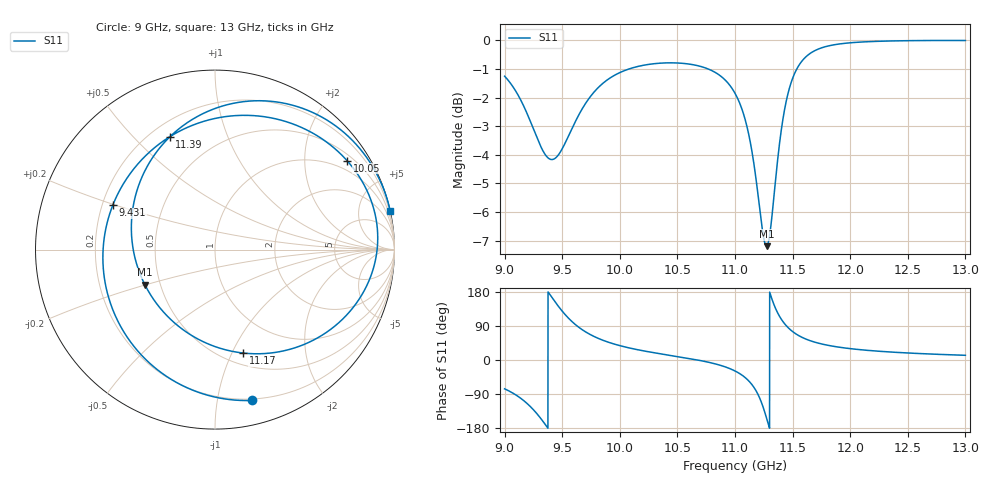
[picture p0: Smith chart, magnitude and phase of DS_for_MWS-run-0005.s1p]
! TOUCHSTONE file generated by CST DESIGN STUDIO
! Date and time: Tue Feb  4 17:41:38 2025
! Project name: C:\Work\MatlabApps\UnitCellOptimizationMatlab\CST\unitcell.cst
! Tree item: Tasks\Sweep1\SPara1\S-Parameters
! Header version: 2024
! Port assignment regex: !\s*Touchstone port\s*([0-9]+)\s*=\s*(CST MWS port|CST DES external port|CST DES block port)\s*(.+)\s* \(\"(.*)\"\)(\s*mode\s*([0-9]+))?.*
! Touchstone port assignment:
! Touchstone port 1 = CST DES external port 1 ("")
# GHz S MA R 50
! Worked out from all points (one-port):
!   4001 points, 9 GHz to 13 GHz, reference 50 ohm
!   lowest |S11| = -7.2 dB at 11.27 GHz (marker M1), VSWR 2.55, Z = 20.5 - j9.92 ohm
!   |S11| at or under -10 dB: nowhere
!   S11 on the Smith chart (normalised r, x): 9 GHz: 0.19, -1.26; 9.431 GHz: 0.24, +0.20; 10.05 GHz: 0.68, +3.14; 11.17 GHz: 0.62, -1.10; 11.39 GHz: 0.28, +0.64; 13 GHz: 0.03, +9.20
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9  0.8657 -76.1
9.117  0.8023 -96.1
9.212  0.7313 -119.5
9.331  0.6422 -161.1
9.431  0.6208 156.5
9.5  0.6465 128.9
9.584  0.7007 101.6
9.678  0.7618 79.0
9.827  0.8322 55.3
10  0.8783 37.9
10.052  0.8872 33.9
10.254  0.908 21.5
10.5  0.9129 9.1
10.81  0.8831 -8.8
11  0.8083 -28.9
11.091  0.7237 -47.1
11.17  0.5972 -74.8
11.223  0.4917 -106.8
11.274  0.437 -153.4
11.329  0.5115 153.6
11.393  0.6763 111.9
11.442  0.7782 91.6
11.5  0.8581 75.0
11.586  0.9225 59.2
11.689  0.9585 47.4
12  0.9902 30.0
12.5  0.9987 18.5
13  0.9993 12.4
